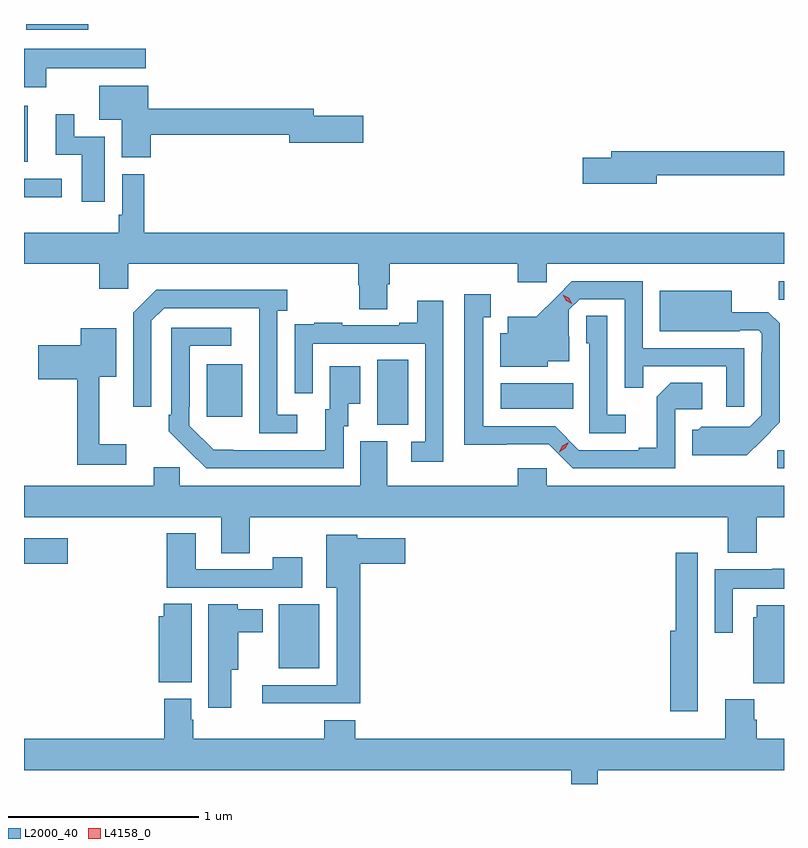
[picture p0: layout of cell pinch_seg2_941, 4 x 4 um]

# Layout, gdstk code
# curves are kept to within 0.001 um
import gdstk
lib = gdstk.Library(unit=1e-6, precision=1e-09)
def R(c, l, rs):  # rectangles x0, y0, x1, y1
    for r in rs: c.add(gdstk.rectangle(r[:2], r[2:], *l))
def P(c, l, *ps):  # polygons
    for p in ps: c.add(gdstk.Polygon(p, *l))
L2000_40 = (2000, 40)
L4158_0 = (4158, 0)

pinch_seg2_941 = lib.new_cell('pinch_seg2_941')
R(pinch_seg2_941, L2000_40, [(326.462,645.509,326.674,645.844), (325.12,646.058,325.351,646.192), (329.085,646.56,329.12,646.656), (326.978,646.789,327.142,647.132), (326.081,646.833,326.269,647.107), (327.63,646.874,328.01,647.008), (329.092,647.449,329.12,647.544), (325.12,647.987,325.318,648.084), (325.12,648.173,325.141,648.469), (325.133,648.869,325.459,648.899)])
P(pinch_seg2_941, L2000_40, [(325.237,648.665),(325.762,648.665),(325.762,648.769),(325.12,648.769),(325.12,648.567),(325.237,648.567)],
  [(325.787,648.316),(326.516,648.316),(326.516,648.274),(326.905,648.274),(326.905,648.416),(326.644,648.416),(326.644,648.452),(325.774,648.452),(325.774,648.574),(325.517,648.574),(325.517,648.395),(325.634,648.395),(325.634,648.198),(325.787,648.198)],
  [(325.546,648.306),(325.384,648.306),(325.384,648.424),(325.286,648.424),(325.286,648.21),(325.424,648.21),(325.424,647.964),(325.546,647.964)],
  [(328.45,648.102),(329.12,648.102),(329.12,648.23),(328.211,648.23),(328.211,648.194),(328.062,648.194),(328.062,648.059),(328.45,648.059)],
  [(327.031,647.53),(327.044,647.53),(327.044,647.636),(327.719,647.636),(327.719,647.541),(327.87,647.541),(327.87,647.636),(329.12,647.636),(329.12,647.8),(325.754,647.8),(325.754,648.109),(325.638,648.109),(325.638,647.896),(325.618,647.896),(325.618,647.8),(325.12,647.8),(325.12,647.636),(325.517,647.636),(325.517,647.505),(325.668,647.505),(325.668,647.636),(326.879,647.636),(326.879,647.523),(326.884,647.523),(326.884,647.398),(327.031,647.398)],
  [(328.911,647.193),(328.377,647.193),(328.377,647.544),(328.004,647.544),(327.817,647.359),(327.665,647.359),(327.665,647.272),(327.626,647.272),(327.626,647.096),(327.876,647.096),(327.876,647.123),(327.991,647.123),(327.991,647.252),(327.987,647.252),(327.987,647.394),(328.044,647.451),(328.281,647.451),(328.281,646.984),(328.379,646.984),(328.379,647.097),(328.815,647.097),(328.815,646.884),(328.911,646.884)],
  [(326.557,646.842),(326.454,646.842),(326.454,647.39),(326.506,647.39),(326.506,647.5),(325.816,647.5),(325.695,647.379),(325.695,646.884),(325.791,646.884),(325.791,647.337),(325.857,647.403),(326.357,647.403),(326.358,646.746),(326.557,646.746)],
  [(329.005,646.709),(329.097,646.802),(329.097,647.324),(329.038,647.383),(328.846,647.383),(328.846,647.494),(328.466,647.494),(328.466,647.282),(328.886,647.282),(328.886,647.286),(328.986,647.286),(329.004,647.268),(329.004,647.168),(329.001,647.168),(329.001,646.839),(328.941,646.779),(328.684,646.78),(328.668,646.764),(328.637,646.764),(328.637,646.628),(328.925,646.628)],
  [(328.548,646.872),(328.69,646.872),(328.69,647.012),(328.525,647.012),(328.449,646.936),(328.449,646.669),(328.355,646.669),(328.355,646.656),(328.041,646.656),(327.915,646.782),(327.538,646.782),(327.538,647.355),(327.577,647.355),(327.577,647.476),(327.437,647.476),(327.437,646.685),(327.882,646.686),(328.008,646.56),(328.548,646.56)],
  [(327.327,647.443),(327.191,647.443),(327.191,647.326),(327.095,647.326),(327.095,647.313),(326.795,647.313),(326.795,647.326),(326.647,647.326),(326.647,647.319),(326.545,647.319),(326.545,647.21),(326.544,647.21),(326.544,646.956),(326.64,646.956),(326.64,647.217),(327.231,647.217),(327.231,646.701),(327.159,646.701),(327.159,646.596),(327.327,646.596)],
  [(328.288,646.843),(328.191,646.843),(328.191,647.363),(328.08,647.363),(328.08,647.22),(328.095,647.22),(328.095,646.746),(328.288,646.746)],
  [(326.802,646.782),(326.827,646.782),(326.827,646.901),(326.89,646.901),(326.89,647.098),(326.729,647.098),(326.729,646.872),(326.705,646.872),(326.705,646.656),(326.118,646.657),(325.989,646.785),(325.989,646.885),(325.992,646.885),(325.992,647.205),(326.212,647.205),(326.212,647.301),(325.896,647.301),(325.896,646.843),(325.881,646.843),(325.881,646.755),(326.078,646.56),(326.802,646.56)],
  [(325.657,646.687),(325.517,646.687),(325.517,647.042),(325.606,647.042),(325.606,647.299),(325.418,647.299),(325.418,647.208),(325.194,647.208),(325.194,647.03),(325.399,647.03),(325.399,646.578),(325.657,646.578)],
  [(326.307,646.304),(328.823,646.304),(328.823,646.115),(328.976,646.115),(328.976,646.304),(329.12,646.304),(329.12,646.468),(327.87,646.468),(327.87,646.561),(327.719,646.561),(327.719,646.468),(327.031,646.468),(327.031,646.704),(326.891,646.704),(326.891,646.468),(325.941,646.468),(325.941,646.566),(325.802,646.566),(325.802,646.468),(325.12,646.468),(325.12,646.304),(326.159,646.304),(326.159,646.114),(326.307,646.114)],
  [(326.584,646.093),(326.428,646.093),(326.428,646.029),(326.023,646.029),(326.023,646.219),(325.871,646.219),(325.871,645.933),(326.584,645.933)],
  [(326.891,646.058),(327.127,646.058),(327.127,646.192),(326.874,646.192),(326.874,646.21),(326.711,646.21),(326.711,645.932),(326.765,645.932),(326.765,645.42),(326.373,645.42),(326.373,645.323),(326.891,645.323)],
  [(328.666,645.602),(328.665,645.602),(328.665,646.117),(328.549,646.117),(328.549,645.706),(328.52,645.706),(328.52,645.282),(328.666,645.282)],
  [(328.851,645.926),(329.12,645.926),(329.12,646.033),(329.059,646.033),(329.059,646.03),(328.755,646.03),(328.755,645.696),(328.851,645.696)],
  [(326.002,645.848),(325.856,645.848),(325.856,645.781),(325.829,645.781),(325.829,645.434),(326.002,645.434)],
  [(326.212,645.5),(326.248,645.5),(326.248,645.698),(326.377,645.698),(326.377,645.82),(326.244,645.82),(326.244,645.844),(326.09,645.844),(326.09,645.3),(326.212,645.3)],
  [(329.12,645.841),(328.976,645.841),(328.976,645.777),(328.958,645.777),(328.958,645.43),(329.12,645.43)],
  [(325.859,645.349),(325.859,645.136),(325.12,645.136),(325.12,644.972),(328.001,644.972),(328.001,644.899),(328.141,644.899),(328.141,644.972),(329.12,644.972),(329.12,645.136),(328.976,645.136),(328.976,645.236),(328.963,645.236),(328.963,645.345),(328.811,645.345),(328.811,645.136),(326.864,645.136),(326.864,645.235),(326.699,645.235),(326.699,645.136),(326.012,645.136),(326.012,645.237),(325.999,645.237),(325.999,645.349)])
P(pinch_seg2_941, L4158_0, [(328.004,647.427),(327.973,647.443),(327.956,647.473),(327.956,647.473),(327.956,647.473),(327.987,647.457),(328.004,647.428),(328.004,647.427)],
  [(327.936,646.646),(327.936,646.647),(327.954,646.679),(327.986,646.697),(327.986,646.697),(327.986,646.697),(327.968,646.665),(327.937,646.646)])

lib.write_gds('pinch_seg2_941.gds')
